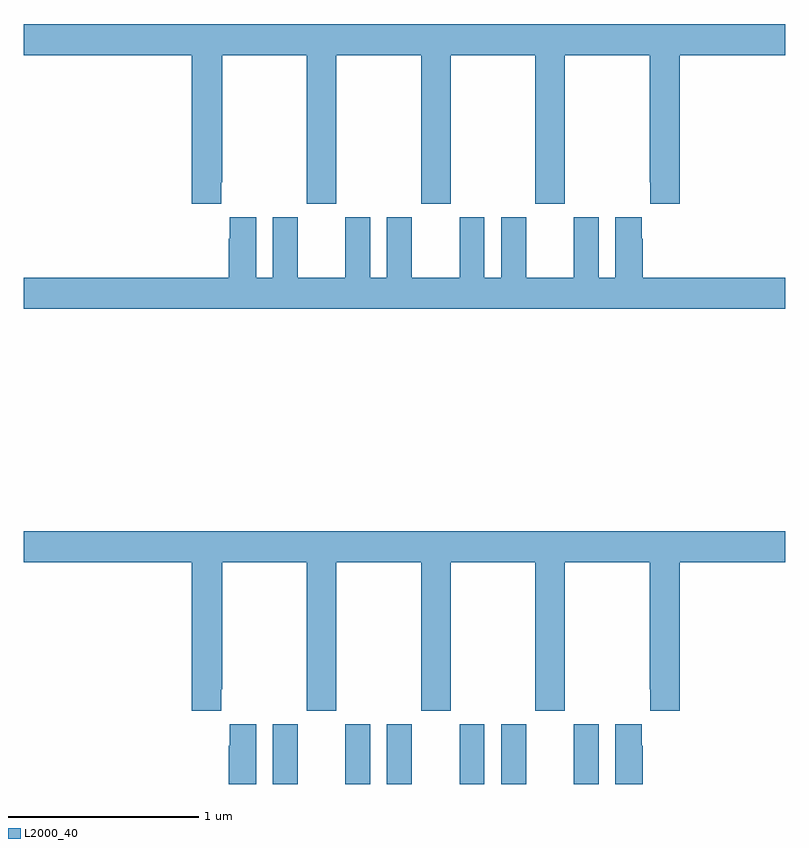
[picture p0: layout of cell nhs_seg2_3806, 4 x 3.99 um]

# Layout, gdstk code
import gdstk
lib = gdstk.Library(unit=1e-6, precision=1e-09)
def R(c, l, rs):  # rectangles x0, y0, x1, y1
    for r in rs: c.add(gdstk.rectangle(r[:2], r[2:], *l))
def P(c, l, *ps):  # polygons
    for p in ps: c.add(gdstk.Polygon(p, *l))
L2000_40 = (2000, 40)

nhs_seg2_3806 = lib.new_cell('nhs_seg2_3806')
R(nhs_seg2_3806, L2000_40, [(312.308,651.8,312.439,652.114), (312.689,651.8,312.82,652.114), (312.908,651.8,313.039,652.114), (313.289,651.8,313.42,652.114), (313.508,651.8,313.639,652.114), (313.889,651.8,314.02,652.114)])
P(nhs_seg2_3806, L2000_40, [(311,655.628),(311.882,655.628),(311.882,654.849),(312.037,654.849),(312.037,654.961),(312.042,654.961),(312.042,655.628),(312.487,655.628),(312.487,654.849),(312.642,654.849),(312.642,655.628),(313.087,655.628),(313.087,654.849),(313.242,654.849),(313.242,655.628),(313.687,655.628),(313.687,654.849),(313.842,654.849),(313.842,655.628),(314.287,655.628),(314.287,654.961),(314.291,654.961),(314.291,654.849),(314.447,654.849),(314.447,655.628),(315,655.628),(315,655.792),(311,655.792)],
  [(315,654.46),(314.252,654.46),(314.252,654.665),(314.245,654.665),(314.245,654.778),(314.108,654.778),(314.108,654.46),(314.02,654.46),(314.02,654.778),(313.889,654.778),(313.889,654.46),(313.639,654.46),(313.639,654.778),(313.508,654.778),(313.508,654.46),(313.42,654.46),(313.42,654.778),(313.289,654.778),(313.289,654.46),(313.039,654.46),(313.039,654.778),(312.908,654.778),(312.908,654.46),(312.82,654.46),(312.82,654.778),(312.689,654.778),(312.689,654.46),(312.439,654.46),(312.439,654.778),(312.308,654.778),(312.308,654.46),(312.22,654.46),(312.22,654.778),(312.083,654.778),(312.083,654.665),(312.077,654.665),(312.077,654.46),(311,654.46),(311,654.296),(315,654.296)],
  [(312.037,652.297),(312.042,652.297),(312.042,652.964),(312.487,652.964),(312.487,652.185),(312.642,652.185),(312.642,652.964),(313.087,652.964),(313.087,652.185),(313.242,652.185),(313.242,652.964),(313.687,652.964),(313.687,652.185),(313.842,652.185),(313.842,652.964),(314.287,652.964),(314.287,652.297),(314.291,652.297),(314.291,652.185),(314.447,652.185),(314.447,652.964),(315,652.964),(315,653.128),(311,653.128),(311,652.964),(311.882,652.964),(311.882,652.185),(312.037,652.185)],
  [(312.22,652.114),(312.083,652.114),(312.083,652.001),(312.077,652.001),(312.077,651.8),(312.22,651.8)],
  [(314.252,652.001),(314.245,652.001),(314.245,652.114),(314.108,652.114),(314.108,651.8),(314.252,651.8)])

lib.write_gds('nhs_seg2_3806.gds')
